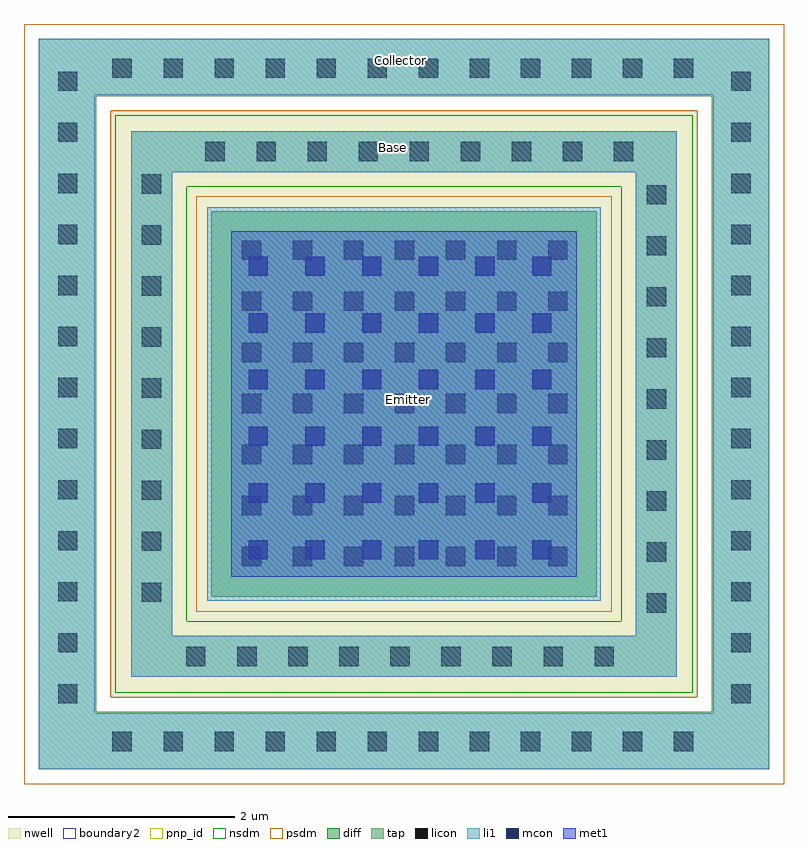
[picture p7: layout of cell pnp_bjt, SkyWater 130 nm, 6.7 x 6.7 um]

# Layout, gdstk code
import gdstk
lib = gdstk.Library(unit=1e-6, precision=5e-09)
def R(c, l, rs):  # rectangles x0, y0, x1, y1
    for r in rs: c.add(gdstk.rectangle(r[:2], r[2:], *l))
def A(c, l, x, y, w, h, nx, ny, dx, dy):  # array of equal rectangles
    R(c, l, [(x+i*dx, y+j*dy, x+i*dx+w, y+j*dy+h) for i in range(nx) for j in range(ny)])
def P(c, l, *ps):  # polygons
    for p in ps: c.add(gdstk.Polygon(p, *l))
nwell = (64, 20)
diff = (65, 20)
tap = (65, 44)
licon = (66, 44)
li1 = (67, 20)
mcon = (67, 44)
met1 = (68, 20)
pnp_id = (82, 44)
nsdm = (93, 44)
psdm = (94, 20)
boundary2 = (236, 0)

pnp_bjt = lib.new_cell('pnp_bjt')
R(pnp_bjt, nwell, [(0.765,0.765,5.935,5.935)])
R(pnp_bjt, diff, [(1.65,1.65,5.05,5.05)])
P(pnp_bjt, tap, [(0.945,0.945),(0.945,5.755),(5.395,5.755),(5.395,5.395),(1.305,5.395),(1.305,1.305),(5.395,1.305),(5.395,5.755),(5.755,5.755),(5.755,0.945)],
  [(0.13,0.13),(0.13,6.57),(6.065,6.57),(6.065,6.065),(0.635,6.065),(0.635,0.635),(6.065,0.635),(6.065,6.57),(6.57,6.57),(6.57,0.13)])
A(pnp_bjt, licon, 0.78, 0.29, 0.17, 0.17, 12, 2, 0.45, 5.935)
A(pnp_bjt, licon, 0.3, 0.71, 0.17, 0.17, 1, 13, 0, 0.45)
A(pnp_bjt, licon, 6.235, 0.71, 0.17, 0.17, 1, 13, 0, 0.45)
A(pnp_bjt, licon, 1.43, 1.04, 0.17, 0.17, 9, 1, 0.45, 0)
A(pnp_bjt, licon, 5.49, 1.51, 0.17, 0.17, 1, 9, 0, 0.45)
A(pnp_bjt, licon, 1.04, 1.605, 0.17, 0.17, 1, 9, 0, 0.45)
A(pnp_bjt, licon, 1.92, 1.92, 0.17, 0.17, 7, 7, 0.45, 0.45)
A(pnp_bjt, licon, 1.6, 5.49, 0.17, 0.17, 9, 1, 0.45, 0)
A(pnp_bjt, li1, 0.58, 0.21, 0.33, 0.33, 12, 1, 0.45, 0)
A(pnp_bjt, li1, 0.675, 0.24, 0.27, 0.27, 11, 2, 0.5, 5.96)
A(pnp_bjt, li1, 6.16, 0.54, 0.33, 0.33, 1, 13, 0, 0.45)
A(pnp_bjt, li1, 0.22, 0.63, 0.33, 0.33, 1, 13, 0, 0.45)
A(pnp_bjt, li1, 1.35, 0.96, 0.33, 0.33, 9, 1, 0.45, 0)
A(pnp_bjt, li1, 1.14, 0.985, 0.27, 0.27, 9, 1, 0.5, 0)
A(pnp_bjt, li1, 5.41, 1.43, 0.33, 0.33, 1, 9, 0, 0.45)
A(pnp_bjt, li1, 0.96, 1.525, 0.33, 0.33, 1, 9, 0, 0.45)
A(pnp_bjt, li1, 1.84, 1.84, 0.33, 0.33, 7, 7, 0.45, 0.45)
A(pnp_bjt, li1, 1.93, 1.93, 0.27, 0.27, 6, 6, 0.5, 0.5)
A(pnp_bjt, li1, 1.52, 5.41, 0.33, 0.33, 9, 1, 0.45, 0)
A(pnp_bjt, li1, 1.155, 5.44, 0.27, 0.27, 9, 1, 0.5, 0)
A(pnp_bjt, li1, 0.7, 6.165, 0.33, 0.33, 12, 1, 0.45, 0)
R(pnp_bjt, li1, [(1.615,1.615,5.085,5.085), (1.65,1.65,5.05,5.05)])
P(pnp_bjt, li1, [(0.13,0.13),(0.13,6.57),(6.075,6.57),(6.075,6.075),(0.625,6.075),(0.625,0.625),(6.075,0.625),(6.075,6.57),(6.57,6.57),(6.57,0.13)],
  [(0.945,0.945),(0.945,5.755),(5.395,5.755),(5.395,5.395),(1.305,5.395),(1.305,1.305),(5.395,1.305),(5.395,5.755),(5.755,5.755),(5.755,0.945)])
A(pnp_bjt, mcon, 1.98, 1.98, 0.17, 0.17, 6, 6, 0.5, 0.5)
A(pnp_bjt, met1, 1.93, 1.93, 0.27, 0.27, 6, 6, 0.5, 0.5)
R(pnp_bjt, met1, [(1.825,1.825,4.875,4.875)])
R(pnp_bjt, pnp_id, [(0.135,0.135,6.565,6.565)])
P(pnp_bjt, nsdm, [(0.805,0.805),(0.805,5.895),(5.265,5.895),(5.265,5.265),(1.435,5.265),(1.435,1.435),(5.265,1.435),(5.265,5.895),(5.895,5.895),(5.895,0.805)])
R(pnp_bjt, psdm, [(1.52,1.52,5.18,5.18)])
P(pnp_bjt, psdm, [(0,0),(0,6.7),(5.935,6.7),(5.935,5.935),(0.765,5.935),(0.765,0.765),(5.935,0.765),(5.935,6.7),(6.7,6.7),(6.7,0)])
R(pnp_bjt, boundary2, [(0.13,0.13,6.57,6.57)])
pnp_bjt.add(gdstk.Label('Emitter', (3.39,3.39), layer=67, texttype=5))
pnp_bjt.add(gdstk.Label('Collector', (3.32,6.38), layer=67, texttype=5))
pnp_bjt.add(gdstk.Label('Base', (3.245,5.61), layer=67, texttype=5))

lib.write_gds('pnp_bjt.gds')
